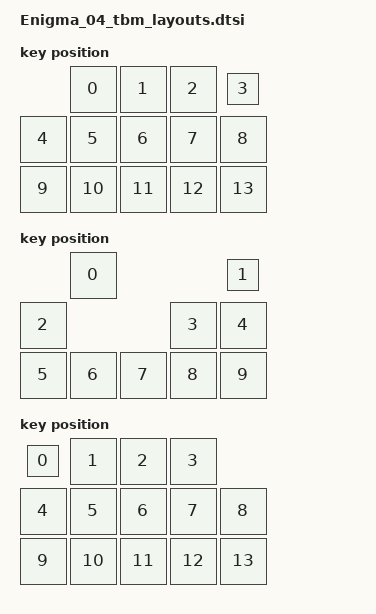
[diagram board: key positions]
#include <physical_layouts.dtsi>

/ {
    layout_mR0: layout_mR0 {
        compatible = "zmk,physical-layout";
        display-name = "Enigma_04";
        transform = <&transform_mR0>;
        kscan = <&kscan_tbm0>;

        keys = <
            &key_physical_attrs 100 100  100   0 0 0 0 
            &key_physical_attrs 100 100  200   0 0 0 0 
            &key_physical_attrs 100 100  300   0 0 0 0 
            &key_physical_attrs  70  70  415  15 0 0 0 
            &key_physical_attrs 100 100    0 100 0 0 0
            &key_physical_attrs 100 100  100 100 0 0 0 
            &key_physical_attrs 100 100  200 100 0 0 0 
            &key_physical_attrs 100 100  300 100 0 0 0 
            &key_physical_attrs 100 100  400 100 0 0 0 
            &key_physical_attrs 100 100    0 200 0 0 0 
            &key_physical_attrs 100 100  100 200 0 0 0
            &key_physical_attrs 100 100  200 200 0 0 0
            &key_physical_attrs 100 100  300 200 0 0 0
            &key_physical_attrs 100 100  400 200 0 0 0
        >;
    };

    layout_mR1: layout_mR1 {
        compatible = "zmk,physical-layout";
        display-name = "Enigma_04";
        transform = <&transform_mR1>;
        kscan = <&kscan_tbm0>;

        keys = <
            &key_physical_attrs 100 100  100   0 0 0 0 
            &key_physical_attrs  70  70  415  15 0 0 0 
            &key_physical_attrs 100 100    0 100 0 0 0
            &key_physical_attrs 100 100  300 100 0 0 0 
            &key_physical_attrs 100 100  400 100 0 0 0 
            &key_physical_attrs 100 100    0 200 0 0 0 
            &key_physical_attrs 100 100  100 200 0 0 0
            &key_physical_attrs 100 100  200 200 0 0 0
            &key_physical_attrs 100 100  300 200 0 0 0
            &key_physical_attrs 100 100  400 200 0 0 0
        >;
    };

    layout_mL0: layout_mL0 {
        compatible = "zmk,physical-layout";
        display-name = "Enigma_04";
        transform = <&transform_mL0>;
        kscan = <&kscan_tbm0>;

        keys = <
            &key_physical_attrs  70  70   15  15 0 0 0 
            &key_physical_attrs 100 100  100   0 0 0 0 
            &key_physical_attrs 100 100  200   0 0 0 0 
            &key_physical_attrs 100 100  300   0 0 0 0 
            &key_physical_attrs 100 100    0 100 0 0 0
            &key_physical_attrs 100 100  100 100 0 0 0 
            &key_physical_attrs 100 100  200 100 0 0 0 
            &key_physical_attrs 100 100  300 100 0 0 0 
            &key_physical_attrs 100 100  400 100 0 0 0 
            &key_physical_attrs 100 100    0 200 0 0 0 
            &key_physical_attrs 100 100  100 200 0 0 0
            &key_physical_attrs 100 100  200 200 0 0 0
            &key_physical_attrs 100 100  300 200 0 0 0
            &key_physical_attrs 100 100  400 200 0 0 0
        >;
    };

    layout_mL1: layout_mL1 {
        compatible = "zmk,physical-layout";
        display-name = "Enigma_04";
        transform = <&transform_mL1>;
        kscan = <&kscan_tbm0>;

        keys = <
            &key_physical_attrs  70  70   15  15 0 0 0 
            &key_physical_attrs 100 100  300   0 0 0 0 
            &key_physical_attrs 100 100    0 100 0 0 0
            &key_physical_attrs 100 100  300 100 0 0 0 
            &key_physical_attrs 100 100  400 100 0 0 0 
            &key_physical_attrs 100 100    0 200 0 0 0 
            &key_physical_attrs 100 100  100 200 0 0 0
            &key_physical_attrs 100 100  200 200 0 0 0
            &key_physical_attrs 100 100  300 200 0 0 0
            &key_physical_attrs 100 100  400 200 0 0 0
        >;
    };

    position_map {
        compatible = "zmk,physical-layout-position-map";

        map_mR0: map_mR0 {
            physical-layout = <&layout_mR0>;
            positions = <0 5>;
        };

        map_mR1: map_mR1 {
            physical-layout = <&layout_mR1>;
            positions = <0 3>;
        };
        map_mL0: map_mL0 {
            physical-layout = <&layout_mL0>;
            positions = <0 5>;
        };

        map_mL1: map_mL1 {
            physical-layout = <&layout_mL1>;
            positions = <0 3>;
        };
    };
};
